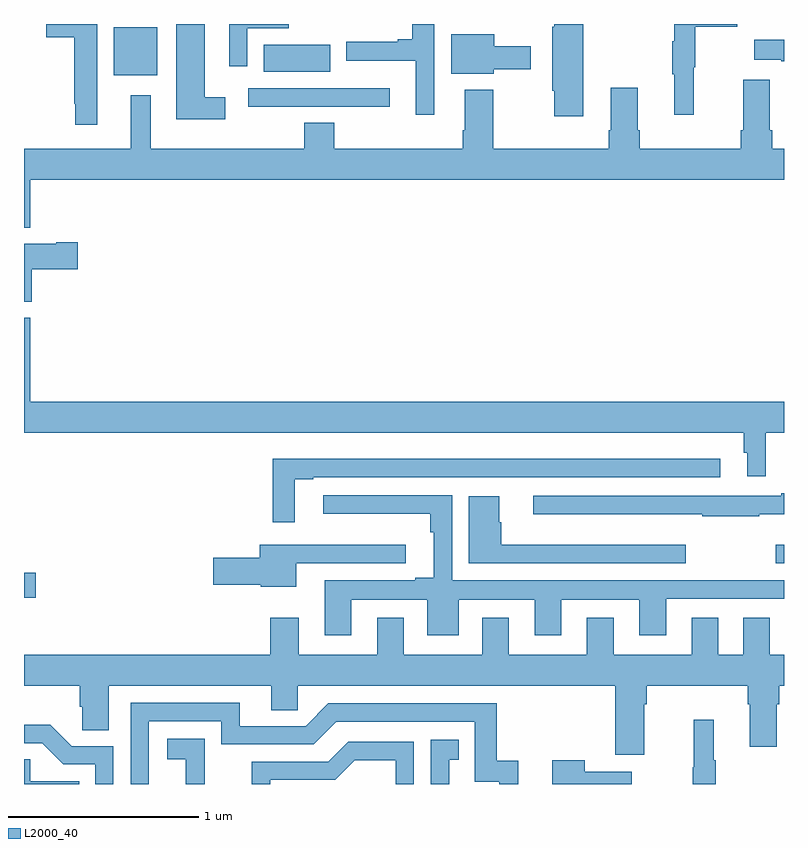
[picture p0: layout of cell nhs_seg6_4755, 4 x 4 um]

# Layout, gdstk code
import gdstk
lib = gdstk.Library(unit=1e-6, precision=1e-09)
def R(c, l, rs):  # rectangles x0, y0, x1, y1
    for r in rs: c.add(gdstk.rectangle(r[:2], r[2:], *l))
def P(c, l, *ps):  # polygons
    for p in ps: c.add(gdstk.Polygon(p, *l))
L2000_40 = (2000, 40)

nhs_seg6_4755 = lib.new_cell('nhs_seg6_4755')
R(nhs_seg6_4755, L2000_40, [(393,934.481,393.061,934.611), (396.957,934.662,397,934.759), (393.473,937.229,393.7,937.483), (394.261,937.25,394.611,937.39)])
P(nhs_seg6_4755, L2000_40, [(393.385,937.5),(393.116,937.5),(393.116,937.43),(393.264,937.43),(393.264,937.081),(393.271,937.081),(393.271,936.969),(393.385,936.969)],
  [(394.176,937.478),(394.393,937.478),(394.393,937.5),(394.081,937.5),(394.081,937.496),(394.08,937.496),(394.08,937.278),(394.176,937.278)],
  [(396.524,937.272),(396.532,937.272),(396.532,937.486),(396.755,937.486),(396.755,937.5),(396.422,937.5),(396.422,937.409),(396.411,937.409),(396.411,937.235),(396.422,937.235),(396.422,937.023),(396.524,937.023)],
  [(395.16,937.5),(395.044,937.5),(395.044,937.42),(394.967,937.42),(394.967,937.407),(394.696,937.407),(394.696,937.307),(395.063,937.307),(395.063,937.023),(395.16,937.023)],
  [(394.06,937.115),(393.952,937.115),(393.952,937.5),(393.8,937.5),(393.8,936.998),(394.06,936.998)],
  [(395.944,937.5),(395.791,937.5),(395.791,937.485),(395.78,937.485),(395.78,937.149),(395.791,937.149),(395.791,937.014),(395.944,937.014)],
  [(395.472,937.262),(395.668,937.262),(395.668,937.384),(395.476,937.384),(395.476,937.447),(395.249,937.447),(395.249,937.238),(395.472,937.238)],
  [(397,937.417),(396.843,937.417),(396.843,937.313),(396.986,937.313),(396.986,937.303),(397,937.303)],
  [(393.032,936.68),(397,936.68),(397,936.844),(396.938,936.844),(396.938,936.94),(396.925,936.94),(396.925,937.207),(396.785,937.207),(396.785,936.94),(396.773,936.94),(396.773,936.844),(396.242,936.844),(396.242,936.94),(396.229,936.94),(396.229,937.165),(396.089,937.165),(396.089,936.94),(396.077,936.94),(396.077,936.844),(395.469,936.844),(395.469,937.153),(395.321,937.153),(395.321,936.94),(395.309,936.94),(395.309,936.844),(394.634,936.844),(394.634,936.98),(394.474,936.98),(394.474,936.844),(393.667,936.844),(393.667,937.126),(393.563,937.126),(393.563,936.844),(393,936.844),(393,936.428),(393.032,936.428)],
  [(394.924,937.162),(394.704,937.162),(394.704,937.161),(394.179,937.161),(394.179,937.065),(394.924,937.065)],
  [(393.04,936.209),(393.283,936.209),(393.283,936.351),(393.17,936.351),(393.17,936.343),(393,936.343),(393,936.038),(393.04,936.038)],
  [(396.905,935.348),(397,935.348),(397,935.512),(393.032,935.512),(393.032,935.953),(393,935.953),(393,935.348),(396.787,935.348),(396.787,935.243),(396.806,935.243),(396.806,935.121),(396.905,935.121)],
  [(394.426,935.103),(394.522,935.103),(394.522,935.115),(396.664,935.115),(396.664,935.212),(394.309,935.212),(394.309,934.878),(394.426,934.878)],
  [(396.869,934.919),(397,934.919),(397,935.029),(396.986,935.029),(396.986,935.016),(395.679,935.016),(395.679,934.919),(396.571,934.919),(396.571,934.908),(396.869,934.908)],
  [(394.723,934.471),(395.123,934.471),(395.123,934.284),(395.287,934.284),(395.287,934.471),(395.687,934.471),(395.687,934.284),(395.827,934.284),(395.827,934.471),(396.239,934.471),(396.239,934.284),(396.379,934.284),(396.379,934.476),(397,934.476),(397,934.572),(395.253,934.572),(395.253,935.019),(394.575,935.019),(394.575,934.922),(395.137,934.922),(395.137,934.826),(395.156,934.826),(395.156,934.585),(395.06,934.585),(395.06,934.572),(394.583,934.572),(394.583,934.284),(394.723,934.284)],
  [(396.484,934.759),(395.513,934.759),(395.513,934.878),(395.5,934.878),(395.5,935.014),(395.342,935.014),(395.342,934.662),(396.484,934.662)],
  [(394.432,934.662),(395.008,934.662),(395.008,934.759),(394.241,934.759),(394.241,934.691),(393.996,934.691),(393.996,934.549),(394.245,934.549),(394.245,934.538),(394.432,934.538)],
  [(396.925,934.375),(396.785,934.375),(396.785,934.18),(396.655,934.18),(396.655,934.375),(396.515,934.375),(396.515,934.18),(396.103,934.18),(396.103,934.375),(395.963,934.375),(395.963,934.18),(395.551,934.18),(395.551,934.375),(395.411,934.375),(395.411,934.18),(394.999,934.18),(394.999,934.375),(394.859,934.375),(394.859,934.18),(394.447,934.18),(394.447,934.375),(394.295,934.375),(394.295,934.18),(393,934.18),(393,934.016),(393.293,934.016),(393.293,933.907),(393.306,933.907),(393.306,933.784),(393.445,933.784),(393.445,934.016),(394.301,934.016),(394.301,933.889),(394.44,933.889),(394.44,934.016),(396.113,934.016),(396.113,933.654),(396.265,933.654),(396.265,933.92),(396.278,933.92),(396.278,934.016),(396.809,934.016),(396.809,933.92),(396.821,933.92),(396.821,933.696),(396.961,933.696),(396.961,933.92),(396.974,933.92),(396.974,934.016),(397,934.016),(397,934.18),(396.925,934.18)],
  [(393.657,933.831),(394.038,933.831),(394.038,933.708),(394.524,933.708),(394.644,933.828),(395.373,933.828),(395.373,933.513),(395.502,933.513),(395.502,933.5),(395.6,933.5),(395.6,933.622),(395.489,933.622),(395.489,933.924),(394.602,933.924),(394.482,933.804),(394.135,933.804),(394.135,933.927),(393.561,933.927),(393.561,933.5),(393.657,933.5)],
  [(396.64,933.625),(396.629,933.625),(396.629,933.838),(396.526,933.838),(396.526,933.588),(396.519,933.588),(396.519,933.5),(396.64,933.5)],
  [(393.471,933.699),(393.252,933.699),(393.139,933.812),(393,933.812),(393,933.714),(393.095,933.714),(393.206,933.603),(393.375,933.603),(393.375,933.5),(393.471,933.5)],
  [(393.95,933.533),(393.951,933.533),(393.951,933.739),(393.753,933.739),(393.753,933.629),(393.851,933.629),(393.851,933.5),(393.95,933.5)],
  [(395.239,933.627),(395.288,933.627),(395.288,933.733),(395.142,933.733),(395.142,933.5),(395.239,933.5)],
  [(394.296,933.522),(394.638,933.522),(394.742,933.626),(394.956,933.626),(394.956,933.5),(395.052,933.5),(395.052,933.723),(394.706,933.723),(394.601,933.618),(394.198,933.618),(394.198,933.5),(394.296,933.5)],
  [(393.29,933.514),(393.033,933.514),(393.033,933.629),(393,933.629),(393,933.5),(393.29,933.5)],
  [(396.199,933.565),(395.951,933.565),(395.951,933.625),(395.78,933.625),(395.78,933.5),(396.199,933.5)])

lib.write_gds('nhs_seg6_4755.gds')
